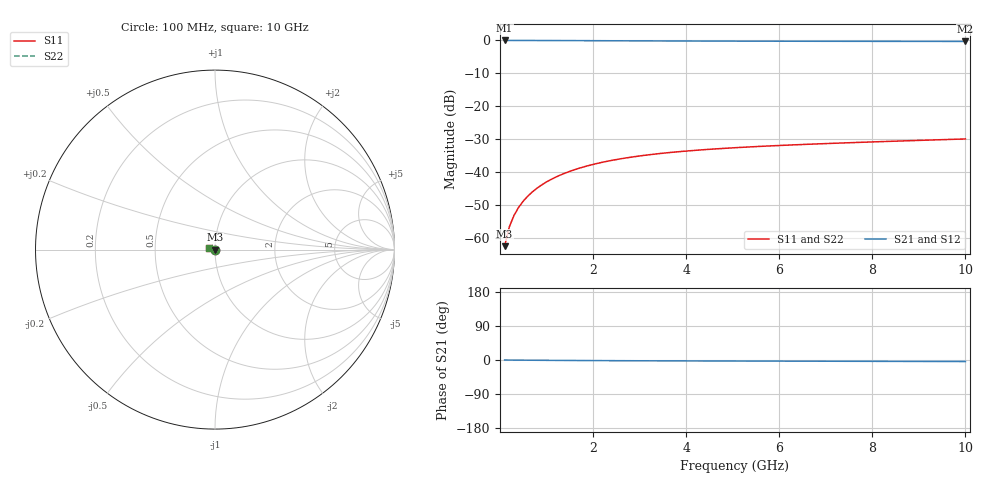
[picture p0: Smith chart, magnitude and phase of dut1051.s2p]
! Touchstone file exported from HFSS 2024.1.0
!  File:  C:/UserFiles/LocalFiles/RDL_TSV_Batchsim/temp_TSV1_1051_1780062660.aedt
!  Generated:  09:55:58 PM May 29, 2026
!  Design:  TSV1
!  Project:  temp_TSV1_1051_1780062660
!  Setup:  Setup1
!  Solution:  Sweep
! Variables:
!  dtsv = 8.05um
!  hbump = 3um
!  htsv = 60.02um
!  lrdl = 252.1521522um
!  p = 40
!  p1 = 49.05um
!  t = 500um
!  trdl = 3um
!  wrdl = 24.89489489um
# GHz S MA R 50.000000
! Terminal data exported
! Port[1] = TSV22_T1
! Port[2] = TSV22_T2
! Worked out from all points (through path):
!   100 points, 100 MHz to 10 GHz, reference 50 ohm
!   highest |S21| = 0.00 dB at 100 MHz (marker M1); lowest = -0.3 dB at 10 GHz (marker M2)
!   lowest |S11| = -62.4 dB at 100 MHz (marker M3), VSWR 1.00, Z = 50 - j0.0739 ohm
!   |S11| at or under -10 dB: start of sweep to end of sweep
!   |S22| runs from -62.4 to -29.9 dB; largest |S21 - S12| = 4.3e-15
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0.1  0.0007566 -77.5  0.9998 -0.1  0.9998 -0.1  0.0007566 -77.5
! Gamma 0 0 0 0
! Port Impedance 50 0 50 0
0.2  0.001476 -86.7  0.9997 -0.2  0.9997 -0.2  0.001476 -86.7
0.3  0.002201 -91.1  0.9996 -0.3  0.9996 -0.3  0.002201 -91.1
0.4  0.002925 -94.3  0.9994 -0.4  0.9994 -0.4  0.002925 -94.3
0.5  0.003645 -97.0  0.9991 -0.4  0.9991 -0.4  0.003645 -97.0
0.6  0.004359 -99.5  0.9988 -0.5  0.9988 -0.5  0.004359 -99.5
0.7  0.005066 -101.8  0.9985 -0.6  0.9985 -0.6  0.005066 -101.8
0.8  0.005765 -103.9  0.9981 -0.7  0.9981 -0.7  0.005765 -103.9
0.9  0.006454 -106.0  0.9977 -0.8  0.9977 -0.8  0.006454 -106.0
1.1  0.007798 -110.0  0.9968 -0.9  0.9968 -0.9  0.007798 -110.0
1.4  0.009719 -115.7  0.9952 -1.2  0.9952 -1.2  0.009719 -115.7
1.6  0.01093 -119.3  0.9941 -1.3  0.9941 -1.3  0.01093 -119.3
1.8  0.01207 -122.7  0.9929 -1.4  0.9929 -1.4  0.01207 -122.7
2.1  0.01367 -127.7  0.991 -1.6  0.991 -1.6  0.01367 -127.7
2.5  0.0156 -133.8  0.9886 -1.8  0.9886 -1.8  0.01559 -133.8
2.9  0.01729 -139.5  0.9862 -2.0  0.9862 -2.0  0.01729 -139.5
3.4  0.01912 -146.0  0.9835 -2.2  0.9835 -2.2  0.01912 -146.0
4.2  0.02153 -155.2  0.9796 -2.5  0.9796 -2.5  0.02153 -155.2
5.1  0.02369 -164.0  0.9762 -2.7  0.9762 -2.7  0.02369 -164.0
6.7  0.02673 -176.9  0.9718 -3.2  0.9718 -3.2  0.02673 -176.9
8.4  0.0295 172.1  0.9688 -3.6  0.9688 -3.6  0.0295 172.1
10  0.03203 163.6  0.9668 -4.1  0.9668 -4.1  0.03203 163.6
